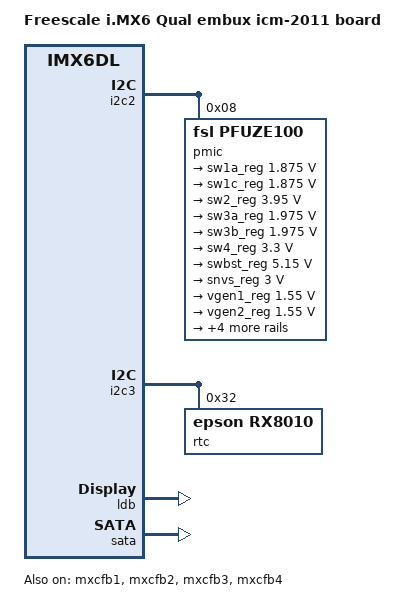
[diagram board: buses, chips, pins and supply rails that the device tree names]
/*
 * Copyright (C) 2013-2014 Freescale Semiconductor, Inc.
 *
 * This program is free software; you can redistribute it and/or modify
 * it under the terms of the GNU General Public License version 2 as
 * published by the Free Software Foundation.
 */

/dts-v1/;

#include "imx6q-embux.dtsi"
#include "imx6q-embux-icm2011.dtsi"

/ {
	model = "Freescale i.MX6 Qual embux icm-2011 board";
	compatible = "fsl,imx6dl-sabresd", "fsl,imx6dl";
};

&i2c2 {
	pmic: pfuze100@08 {
		compatible = "fsl,pfuze100";
		reg = <0x08>;

		regulators {
			sw1a_reg: sw1ab {
				regulator-min-microvolt = <1875000>;
				regulator-max-microvolt = <1875000>;
				regulator-boot-on;
				regulator-always-on;
				regulator-ramp-delay = <6250>;
			};

			sw1c_reg: sw1c {
				regulator-min-microvolt = <1875000>;
				regulator-max-microvolt = <1875000>;
				regulator-boot-on;
				regulator-always-on;
				regulator-ramp-delay = <6250>;
			};

			sw2_reg: sw2 {
				regulator-min-microvolt = <3950000>;
				regulator-max-microvolt = <3950000>;
				regulator-boot-on;
				regulator-always-on;
			};

			sw3a_reg: sw3a {
				regulator-min-microvolt = <1975000>;
				regulator-max-microvolt = <1975000>;
				regulator-boot-on;
				regulator-always-on;
			};

			sw3b_reg: sw3b {
				regulator-min-microvolt = <1975000>;
				regulator-max-microvolt = <1975000>;
				regulator-boot-on;
				regulator-always-on;
			};

			sw4_reg: sw4 {
				regulator-min-microvolt = <3300000>;
				regulator-max-microvolt = <3300000>;
			};

			swbst_reg: swbst {
				regulator-min-microvolt = <5150000>;
				regulator-max-microvolt = <5150000>;
			};

			snvs_reg: vsnvs {
				regulator-min-microvolt = <3000000>;
				regulator-max-microvolt = <3000000>;
				regulator-boot-on;
				regulator-always-on;
			};

			vref_reg: vrefddr {
				regulator-boot-on;
				regulator-always-on;
			};

			vgen1_reg: vgen1 {
				regulator-min-microvolt = <1550000>;
				regulator-max-microvolt = <1550000>;
			};

			vgen2_reg: vgen2 {
				regulator-min-microvolt = <1550000>;
				regulator-max-microvolt = <1550000>;
			};

			vgen3_reg: vgen3 {
				regulator-min-microvolt = <3300000>;
				regulator-max-microvolt = <3300000>;
			};

			vgen4_reg: vgen4 {
				regulator-min-microvolt = <3300000>;
				regulator-max-microvolt = <3300000>;
				regulator-always-on;
			};

			vgen5_reg: vgen5 {
				regulator-min-microvolt = <3300000>;
				regulator-max-microvolt = <3300000>;
				regulator-always-on;
			};

			vgen6_reg: vgen6 {
				regulator-min-microvolt = <3300000>;
				regulator-max-microvolt = <3300000>;
				regulator-always-on;
			};
		};
	};
};

&i2c3 {
	rtc: rx8010@32 {
		compatible = "epson,rx8010";
		reg = <0x32>;
		//interrupt-parent = <&gpio2>, <&gpio4>;
		//interrupts = <17>, <19>;
		//rx8010-irq_1 = <&gpio2 17 0>;	
		//rx8010-irq_2 = <&gpio4 19 0>;		
	};
};

&battery {
	offset-charger = <1900>;
	offset-discharger = <1694>;
	offset-usb-charger = <1685>;
};

&ldb {
	status = "okay";
	lvds-channel@0 {
		crtc = "ipu2-di0";
	};

	lvds-channel@1 {
		crtc = "ipu2-di1";
	};
};

&mxcfb1 {
	status = "okay";
};

&mxcfb2 {
	status = "okay";
};

&mxcfb3 {
	status = "okay";
};

&mxcfb4 {
	status = "okay";
};

&sata {
	status = "okay";
};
